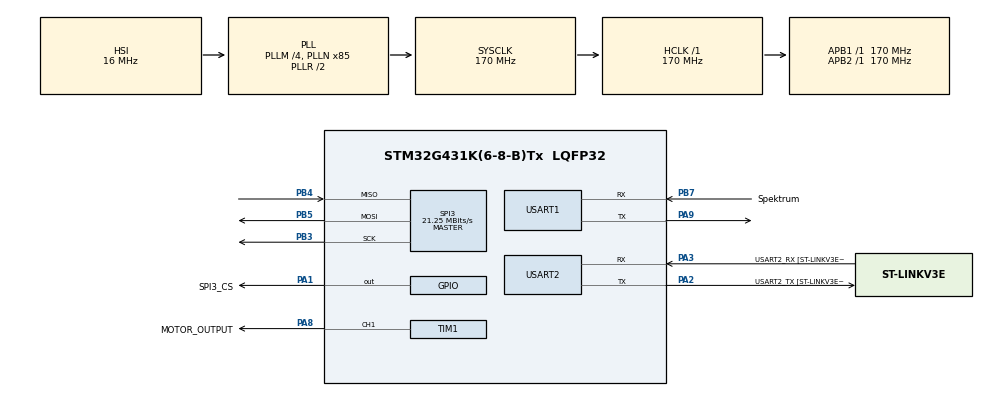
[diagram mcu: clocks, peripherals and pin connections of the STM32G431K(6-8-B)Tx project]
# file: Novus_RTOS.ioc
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Mcu.Family=STM32G4
RCC.CortexFreq_Value=170000000
SPI3.Direction=SPI_DIRECTION_2LINES
SPI3.VirtualType=VM_MASTER
Dma.USART1_RX.0.EventEnable=DISABLE
PA14.GPIO_Label=T_SWCLK
Dma.USART1_RX.0.SignalID=NONE
RCC.SYSCLKSource=RCC_SYSCLKSOURCE_PLLCLK
ProjectManager.StackSize=0x400
VP_FREERTOS_VS_CMSIS_V2.Mode=CMSIS_V2
TIM1.Prescaler=170-1
RCC.HCLKFreq_Value=170000000
RCC.APB2TimFreq_Value=170000000
RCC.AHBFreq_Value=170000000
Dma.USART1_RX.0.Priority=DMA_PRIORITY_LOW
SPI3.DataSize=SPI_DATASIZE_16BIT
RCC.HSE_VALUE=8000000
PB3.Mode=Full_Duplex_Master
USART2.VirtualMode-Asynchronous=VM_ASYNC
RCC.ADC12Freq_Value=170000000
PB4.Mode=Full_Duplex_Master
TIM1.Channel-PWM\ Generation1\ CH1=TIM_CHANNEL_1
PA14.Mode=Serial_Wire
PB5.Mode=Full_Duplex_Master
Dma.USART1_RX.0.SyncEnable=DISABLE
VP_SYS_VS_DBSignals.Mode=DisableDeadBatterySignals
PB7.Signal=USART1_RX
PA8.Signal=S_TIM1_CH1
Dma.USART1_RX.0.MemInc=DMA_MINC_ENABLE
VP_TIM1_VS_ClockSourceINT.Mode=Internal
PB7.GPIO_Label=Spektrum
Mcu.Package=LQFP32
NVIC.TimeBase=TIM7_IRQn
SPI3.Mode=SPI_MODE_MASTER
PA2.GPIO_Label=USART2_TX [ST-LINKV3E_VCP_RX]
NVIC.TimeBaseIP=TIM7
USART2.WordLength=WORDLENGTH_8B
RCC.APB1TimFreq_Value=170000000
Dma.USART1_RX.0.Mode=DMA_CIRCULAR
Dma.Request0=USART1_RX
Dma.USART1_RX.0.Instance=DMA1_Channel1
NVIC.TIM7_IRQn=true\:0\:0\:false\:false\:true\:false\:false\:true
RCC.HSI48_VALUE=48000000
PB4.Signal=SPI3_MISO
PA3.Signal=USART2_RX
FREERTOS.Tasks01=mControllerTask,24,128,StartControllerTask,Default,NULL,Static,mControllerTaskBuffer,mControllerTaskControlBlock;updateEncoderTa,24,128,StartEncoderTask,Default,NULL,Static,updateEncoderTaBuffer,updateEncoderTaControlBlock;paramReceiver,24,128,StartparamReceiver,Default,NULL,Static,paramReceiverBuffer,paramReceiverControlBlock
Dma.USART1_RX.0.PeriphDataAlignment=DMA_PDATAALIGN_BYTE
VP_SYS_VS_tim7.Mode=TIM7
RCC.EXTERNAL_CLOCK_VALUE=12288000
Dma.USART1_RX.0.RequestNumber=1
Dma.USART1_RX.0.Polarity=HAL_DMAMUX_REQ_GEN_RISING
USART1.VirtualMode-Asynchronous=VM_ASYNC
PA13.Signal=SYS_JTMS-SWDIO
PA3.Mode=Asynchronous
PA9.Mode=Asynchronous
PA8.GPIO_Label=MOTOR_OUTPUT
SH.S_TIM1_CH1.0=TIM1_CH1,PWM Generation1 CH1
ProjectManager.TargetToolchain=STM32CubeIDE
Dma.USART1_RX.0.SyncRequestNumber=1
Dma.USART1_RX.0.Direction=DMA_PERIPH_TO_MEMORY
PA9.Signal=USART1_TX
RCC.USBFreq_Value=170000000
RCC.LSE_VALUE=32768
PA1.Signal=GPIO_Output
Dma.USART1_RX.0.PeriphInc=DMA_PINC_DISABLE
board=NUCLEO-G431KB
SPI3.CLKPhase=SPI_PHASE_2EDGE
RCC.VCOOutputFreq_Value=340000000
RCC.APB2Freq_Value=170000000
SPI3.CalculateBaudRate=21.25 MBits/s
SPI3.BaudRatePrescaler=SPI_BAUDRATEPRESCALER_8
PA1.GPIO_Label=SPI3_CS
Dma.USART1_RX.0.MemDataAlignment=DMA_MDATAALIGN_BYTE
Dma.USART1_RX.0.SyncPolarity=HAL_DMAMUX_SYNC_NO_EVENT
PA13.Mode=Serial_Wire
Mcu.Name=STM32G431K(6-8-B)Tx
Dma.USART1_RX.0.SyncSignalID=NONE
PA13.GPIO_Label=T_SWDIO
PA2.Signal=USART2_TX
PB3.Signal=SPI3_SCK
RCC.SYSCLKFreq_VALUE=170000000
PB5.Signal=SPI3_MOSI
PB7.Mode=Asynchronous
PA14.Signal=SYS_JTCK-SWCLK
ProjectManager.HeapSize=0x200
FREERTOS.Timers01=tmtcTimer,tmtcTimerCallback,osTimerPeriodic,Default,NULL,Static,tmtcTimerControlBlock
RCC.HSI_VALUE=16000000
NVIC.PriorityGroup=NVIC_PRIORITYGROUP_4
RCC.PLLM=RCC_PLLM_DIV4
RCC.PLLN=85
PA2.Mode=Asynchronous
NVIC.DMA1_Channel1_IRQn=true\:5\:0\:false\:false\:true\:true\:false\:true
RCC.APB1Freq_Value=170000000
TIM1.PeriodNoDither=2500-1
PA3.GPIO_Label=USART2_RX [ST-LINKV3E_VCP_TX]

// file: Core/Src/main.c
/* USER CODE BEGIN Header */
/**
  ******************************************************************************
  * @file           : main.c
  * @brief          : Main program body
  ******************************************************************************
  * @attention
  *
  * <h2><center>&copy; Copyright (c) 2021 STMicroelectronics.
  * All rights reserved.</center></h2>
  *
  * This software component is licensed by ST under BSD 3-Clause license,
  * the "License"; You may not use this file except in compliance with the
  * License. You may obtain a copy of the License at:
  *                        opensource.org/licenses/BSD-3-Clause
  *
  ******************************************************************************
  */
/* USER CODE END Header */
#include "main.h"
#include "cmsis_os.h"

/* USER CODE BEGIN Includes */
#include <stdio.h>
#include "controller/controller.h"
#include "tmtc/tmtc.h"
/* USER CODE END Includes */

typedef StaticTask_t osStaticThreadDef_t;
typedef StaticTimer_t osStaticTimerDef_t;

SPI_HandleTypeDef hspi3;

TIM_HandleTypeDef htim1;

UART_HandleTypeDef huart1;
UART_HandleTypeDef huart2;
DMA_HandleTypeDef hdma_usart1_rx;

/* Definitions for mControllerTask */
osThreadId_t mControllerTaskHandle;
uint32_t mControllerTaskBuffer[ 128 ];
osStaticThreadDef_t mControllerTaskControlBlock;
const osThreadAttr_t mControllerTask_attributes = {
  .name = "mControllerTask",
  .stack_mem = &mControllerTaskBuffer[0],
  .stack_size = sizeof(mControllerTaskBuffer),
  .cb_mem = &mControllerTaskControlBlock,
  .cb_size = sizeof(mControllerTaskControlBlock),
  .priority = (osPriority_t) osPriorityNormal,
};
/* Definitions for updateEncoderTa */
osThreadId_t updateEncoderTaHandle;
uint32_t updateEncoderTaBuffer[ 128 ];
osStaticThreadDef_t updateEncoderTaControlBlock;
const osThreadAttr_t updateEncoderTa_attributes = {
  .name = "updateEncoderTa",
  .stack_mem = &updateEncoderTaBuffer[0],
  .stack_size = sizeof(updateEncoderTaBuffer),
  .cb_mem = &updateEncoderTaControlBlock,
  .cb_size = sizeof(updateEncoderTaControlBlock),
  .priority = (osPriority_t) osPriorityNormal,
};
/* Definitions for paramReceiver */
osThreadId_t paramReceiverHandle;
uint32_t paramReceiverBuffer[ 128 ];
osStaticThreadDef_t paramReceiverControlBlock;
const osThreadAttr_t paramReceiver_attributes = {
  .name = "paramReceiver",
  .stack_mem = &paramReceiverBuffer[0],
  .stack_size = sizeof(paramReceiverBuffer),
  .cb_mem = &paramReceiverControlBlock,
  .cb_size = sizeof(paramReceiverControlBlock),
  .priority = (osPriority_t) osPriorityNormal,
};
/* Definitions for tmtcTimer */
osTimerId_t tmtcTimerHandle;
osStaticTimerDef_t tmtcTimerControlBlock;
const osTimerAttr_t tmtcTimer_attributes = {
  .name = "tmtcTimer",
  .cb_mem = &tmtcTimerControlBlock,
  .cb_size = sizeof(tmtcTimerControlBlock),
};
/* USER CODE BEGIN PV */

MOTOR motor;
RC rc;

float control_command = 0;
SPT_Value setpoint_value;
MODE mode = CUT_OFF;

uint8_t buffer[100];

/* USER CODE END PV */

void SystemClock_Config(void);
static void MX_GPIO_Init(void);
static void MX_DMA_Init(void);
static void MX_USART2_UART_Init(void);
static void MX_USART1_UART_Init(void);
static void MX_TIM1_Init(void);
static void MX_SPI3_Init(void);
void StartControllerTask(void *argument);
void StartEncoderTask(void *argument);
void StartparamReceiver(void *argument);
void tmtcTimerCallback(void *argument);

int main(void)
{

  /* MCU Configuration--------------------------------------------------------*/

  /* Reset of all peripherals, Initializes the Flash interface and the Systick. */
  HAL_Init();

  /* Configure the system clock */
  SystemClock_Config();

  /* Initialize all configured peripherals */
  MX_GPIO_Init();
  MX_DMA_Init();
  MX_USART2_UART_Init();
  MX_USART1_UART_Init();
  MX_TIM1_Init();
  MX_SPI3_Init();
  /* USER CODE BEGIN 2 */

  as5147_Init(&hspi3, SPI3_CS_GPIO_Port, SPI3_CS_Pin);
  as5147_setZeroPosition();
  setOffset(&motor);

  controllerInit(&htim1);

  transpc_index = 0;
  /* USER CODE END 2 */

  /* Init scheduler */
  osKernelInitialize();

  /* Create the timer(s) */
  /* creation of tmtcTimer */
  tmtcTimerHandle = osTimerNew(tmtcTimerCallback, osTimerPeriodic, NULL, &tmtcTimer_attributes);

  /* USER CODE BEGIN RTOS_TIMERS */
  /* start timers, add new ones, ... */
  osTimerStart(tmtcTimerHandle, 5);
  /* USER CODE END RTOS_TIMERS */

  /* Create the thread(s) */
  /* creation of mControllerTask */
  mControllerTaskHandle = osThreadNew(StartControllerTask, NULL, &mControllerTask_attributes);

  /* creation of updateEncoderTa */
  updateEncoderTaHandle = osThreadNew(StartEncoderTask, NULL, &updateEncoderTa_attributes);

  /* creation of paramReceiver */
  paramReceiverHandle = osThreadNew(StartparamReceiver, NULL, &paramReceiver_attributes);

  /* Start scheduler */
  osKernelStart();

  /* We should never get here as control is now taken by the scheduler */
  /* Infinite loop */
  while (1)
  {

  }
}

void SystemClock_Config(void)
{
  RCC_OscInitTypeDef RCC_OscInitStruct = {0};
  RCC_ClkInitTypeDef RCC_ClkInitStruct = {0};
  RCC_PeriphCLKInitTypeDef PeriphClkInit = {0};

  /** Configure the main internal regulator output voltage
  */
  HAL_PWREx_ControlVoltageScaling(PWR_REGULATOR_VOLTAGE_SCALE1_BOOST);
  /** Initializes the RCC Oscillators according to the specified parameters
  * in the RCC_OscInitTypeDef structure.
  */
  RCC_OscInitStruct.OscillatorType = RCC_OSCILLATORTYPE_HSI;
  RCC_OscInitStruct.HSIState = RCC_HSI_ON;
  RCC_OscInitStruct.HSICalibrationValue = RCC_HSICALIBRATION_DEFAULT;
  RCC_OscInitStruct.PLL.PLLState = RCC_PLL_ON;
  RCC_OscInitStruct.PLL.PLLSource = RCC_PLLSOURCE_HSI;
  RCC_OscInitStruct.PLL.PLLM = RCC_PLLM_DIV4;
  RCC_OscInitStruct.PLL.PLLN = 85;
  RCC_OscInitStruct.PLL.PLLP = RCC_PLLP_DIV2;
  RCC_OscInitStruct.PLL.PLLQ = RCC_PLLQ_DIV2;
  RCC_OscInitStruct.PLL.PLLR = RCC_PLLR_DIV2;
  if (HAL_RCC_OscConfig(&RCC_OscInitStruct) != HAL_OK)
  {
    Error_Handler();
  }
  /** Initializes the CPU, AHB and APB buses clocks
  */
  RCC_ClkInitStruct.ClockType = RCC_CLOCKTYPE_HCLK|RCC_CLOCKTYPE_SYSCLK
                              |RCC_CLOCKTYPE_PCLK1|RCC_CLOCKTYPE_PCLK2;
  RCC_ClkInitStruct.SYSCLKSource = RCC_SYSCLKSOURCE_PLLCLK;
  RCC_ClkInitStruct.AHBCLKDivider = RCC_SYSCLK_DIV1;
  RCC_ClkInitStruct.APB1CLKDivider = RCC_HCLK_DIV1;
  RCC_ClkInitStruct.APB2CLKDivider = RCC_HCLK_DIV1;

  if (HAL_RCC_ClockConfig(&RCC_ClkInitStruct, FLASH_LATENCY_4) != HAL_OK)
  {
    Error_Handler();
  }
  /** Initializes the peripherals clocks
  */
  PeriphClkInit.PeriphClockSelection = RCC_PERIPHCLK_USART1|RCC_PERIPHCLK_USART2;
  PeriphClkInit.Usart1ClockSelection = RCC_USART1CLKSOURCE_PCLK2;
  PeriphClkInit.Usart2ClockSelection = RCC_USART2CLKSOURCE_PCLK1;
  if (HAL_RCCEx_PeriphCLKConfig(&PeriphClkInit) != HAL_OK)
  {
    Error_Handler();
  }
}

static void MX_SPI3_Init(void)
{

  /* SPI3 parameter configuration*/
  hspi3.Instance = SPI3;
  hspi3.Init.Mode = SPI_MODE_MASTER;
  hspi3.Init.Direction = SPI_DIRECTION_2LINES;
  hspi3.Init.DataSize = SPI_DATASIZE_16BIT;
  hspi3.Init.CLKPolarity = SPI_POLARITY_LOW;
  hspi3.Init.CLKPhase = SPI_PHASE_2EDGE;
  hspi3.Init.NSS = SPI_NSS_SOFT;
  hspi3.Init.BaudRatePrescaler = SPI_BAUDRATEPRESCALER_8;
  hspi3.Init.FirstBit = SPI_FIRSTBIT_MSB;
  hspi3.Init.TIMode = SPI_TIMODE_DISABLE;
  hspi3.Init.CRCCalculation = SPI_CRCCALCULATION_DISABLE;
  hspi3.Init.CRCPolynomial = 7;
  hspi3.Init.CRCLength = SPI_CRC_LENGTH_DATASIZE;
  hspi3.Init.NSSPMode = SPI_NSS_PULSE_DISABLE;
  if (HAL_SPI_Init(&hspi3) != HAL_OK)
  {
    Error_Handler();
  }

}

static void MX_TIM1_Init(void)
{

  TIM_ClockConfigTypeDef sClockSourceConfig = {0};
  TIM_MasterConfigTypeDef sMasterConfig = {0};
  TIM_OC_InitTypeDef sConfigOC = {0};
  TIM_BreakDeadTimeConfigTypeDef sBreakDeadTimeConfig = {0};

  htim1.Instance = TIM1;
  htim1.Init.Prescaler = 170-1;
  htim1.Init.CounterMode = TIM_COUNTERMODE_UP;
  htim1.Init.Period = 2499;
  htim1.Init.ClockDivision = TIM_CLOCKDIVISION_DIV1;
  htim1.Init.RepetitionCounter = 0;
  htim1.Init.AutoReloadPreload = TIM_AUTORELOAD_PRELOAD_DISABLE;
  if (HAL_TIM_Base_Init(&htim1) != HAL_OK)
  {
    Error_Handler();
  }
  sClockSourceConfig.ClockSource = TIM_CLOCKSOURCE_INTERNAL;
  if (HAL_TIM_ConfigClockSource(&htim1, &sClockSourceConfig) != HAL_OK)
  {
    Error_Handler();
  }
  if (HAL_TIM_PWM_Init(&htim1) != HAL_OK)
  {
    Error_Handler();
  }
  sMasterConfig.MasterOutputTrigger = TIM_TRGO_RESET;
  sMasterConfig.MasterOutputTrigger2 = TIM_TRGO2_RESET;
  sMasterConfig.MasterSlaveMode = TIM_MASTERSLAVEMODE_DISABLE;
  if (HAL_TIMEx_MasterConfigSynchronization(&htim1, &sMasterConfig) != HAL_OK)
  {
    Error_Handler();
  }
  sConfigOC.OCMode = TIM_OCMODE_PWM1;
  sConfigOC.Pulse = 0;
  sConfigOC.OCPolarity = TIM_OCPOLARITY_HIGH;
  sConfigOC.OCNPolarity = TIM_OCNPOLARITY_HIGH;
  sConfigOC.OCFastMode = TIM_OCFAST_DISABLE;
  sConfigOC.OCIdleState = TIM_OCIDLESTATE_RESET;
  sConfigOC.OCNIdleState = TIM_OCNIDLESTATE_RESET;
  if (HAL_TIM_PWM_ConfigChannel(&htim1, &sConfigOC, TIM_CHANNEL_1) != HAL_OK)
  {
    Error_Handler();
  }
  sBreakDeadTimeConfig.OffStateRunMode = TIM_OSSR_DISABLE;
  sBreakDeadTimeConfig.OffStateIDLEMode = TIM_OSSI_DISABLE;
  sBreakDeadTimeConfig.LockLevel = TIM_LOCKLEVEL_OFF;
  sBreakDeadTimeConfig.DeadTime = 0;
  sBreakDeadTimeConfig.BreakState = TIM_BREAK_DISABLE;
  sBreakDeadTimeConfig.BreakPolarity = TIM_BREAKPOLARITY_HIGH;
  sBreakDeadTimeConfig.BreakFilter = 0;
  sBreakDeadTimeConfig.BreakAFMode = TIM_BREAK_AFMODE_INPUT;
  sBreakDeadTimeConfig.Break2State = TIM_BREAK2_DISABLE;
  sBreakDeadTimeConfig.Break2Polarity = TIM_BREAK2POLARITY_HIGH;
  sBreakDeadTimeConfig.Break2Filter = 0;
  sBreakDeadTimeConfig.Break2AFMode = TIM_BREAK_AFMODE_INPUT;
  sBreakDeadTimeConfig.AutomaticOutput = TIM_AUTOMATICOUTPUT_DISABLE;
  if (HAL_TIMEx_ConfigBreakDeadTime(&htim1, &sBreakDeadTimeConfig) != HAL_OK)
  {
    Error_Handler();
  }
  HAL_TIM_MspPostInit(&htim1);

}

static void MX_USART1_UART_Init(void)
{

  huart1.Instance = USART1;
  huart1.Init.BaudRate = 115200;
  huart1.Init.WordLength = UART_WORDLENGTH_8B;
  huart1.Init.StopBits = UART_STOPBITS_1;
  huart1.Init.Parity = UART_PARITY_NONE;
  huart1.Init.Mode = UART_MODE_TX_RX;
  huart1.Init.HwFlowCtl = UART_HWCONTROL_NONE;
  huart1.Init.OverSampling = UART_OVERSAMPLING_16;
  huart1.Init.OneBitSampling = UART_ONE_BIT_SAMPLE_DISABLE;
  huart1.Init.ClockPrescaler = UART_PRESCALER_DIV1;
  huart1.AdvancedInit.AdvFeatureInit = UART_ADVFEATURE_NO_INIT;
  if (HAL_UART_Init(&huart1) != HAL_OK)
  {
    Error_Handler();
  }
  if (HAL_UARTEx_SetTxFifoThreshold(&huart1, UART_TXFIFO_THRESHOLD_1_8) != HAL_OK)
  {
    Error_Handler();
  }
  if (HAL_UARTEx_SetRxFifoThreshold(&huart1, UART_RXFIFO_THRESHOLD_1_8) != HAL_OK)
  {
    Error_Handler();
  }
  if (HAL_UARTEx_DisableFifoMode(&huart1) != HAL_OK)
  {
    Error_Handler();
  }
  /* USER CODE BEGIN USART1_Init 2 */
  HAL_UART_Receive_DMA(&huart1, rc_byte_data, 16);
  /* USER CODE END USART1_Init 2 */

}

static void MX_USART2_UART_Init(void)
{

  huart2.Instance = USART2;
  huart2.Init.BaudRate = 115200;
  huart2.Init.WordLength = UART_WORDLENGTH_8B;
  huart2.Init.StopBits = UART_STOPBITS_1;
  huart2.Init.Parity = UART_PARITY_NONE;
  huart2.Init.Mode = UART_MODE_TX_RX;
  huart2.Init.HwFlowCtl = UART_HWCONTROL_NONE;
  huart2.Init.OverSampling = UART_OVERSAMPLING_16;
  huart2.Init.OneBitSampling = UART_ONE_BIT_SAMPLE_DISABLE;
  huart2.Init.ClockPrescaler = UART_PRESCALER_DIV1;
  huart2.AdvancedInit.AdvFeatureInit = UART_ADVFEATURE_NO_INIT;
  if (HAL_UART_Init(&huart2) != HAL_OK)
  {
    Error_Handler();
  }
  if (HAL_UARTEx_SetTxFifoThreshold(&huart2, UART_TXFIFO_THRESHOLD_1_8) != HAL_OK)
  {
    Error_Handler();
  }
  if (HAL_UARTEx_SetRxFifoThreshold(&huart2, UART_RXFIFO_THRESHOLD_1_8) != HAL_OK)
  {
    Error_Handler();
  }
  if (HAL_UARTEx_DisableFifoMode(&huart2) != HAL_OK)
  {
    Error_Handler();
  }

}

static void MX_DMA_Init(void)
{

  /* DMA controller clock enable */
  __HAL_RCC_DMAMUX1_CLK_ENABLE();
  __HAL_RCC_DMA1_CLK_ENABLE();

  /* DMA interrupt init */
  /* DMA1_Channel1_IRQn interrupt configuration */
  HAL_NVIC_SetPriority(DMA1_Channel1_IRQn, 5, 0);
  HAL_NVIC_EnableIRQ(DMA1_Channel1_IRQn);

}

static void MX_GPIO_Init(void)
{
  GPIO_InitTypeDef GPIO_InitStruct = {0};

  /* GPIO Ports Clock Enable */
  __HAL_RCC_GPIOA_CLK_ENABLE();
  __HAL_RCC_GPIOB_CLK_ENABLE();

  /*Configure GPIO pin Output Level */
  HAL_GPIO_WritePin(SPI3_CS_GPIO_Port, SPI3_CS_Pin, GPIO_PIN_RESET);

  /*Configure GPIO pin : SPI3_CS_Pin */
  GPIO_InitStruct.Pin = SPI3_CS_Pin;
  GPIO_InitStruct.Mode = GPIO_MODE_OUTPUT_PP;
  GPIO_InitStruct.Pull = GPIO_NOPULL;
  GPIO_InitStruct.Speed = GPIO_SPEED_FREQ_LOW;
  HAL_GPIO_Init(SPI3_CS_GPIO_Port, &GPIO_InitStruct);

}

/* USER CODE BEGIN 4 */

void HAL_UART_RxCpltCallback(UART_HandleTypeDef *huartx){
	if(huartx->Instance == huart1.Instance){
		spectrum_read(&rc);
		HAL_UART_Receive_DMA(&huart1, rc_byte_data, 16);
	}
}

/* USER CODE END 4 */

void StartControllerTask(void *argument)
{
  /* USER CODE BEGIN 5 */
  /* Infinite loop */
  for(;;){
	 start_time = HAL_GetTick();
	 setpoint_value = setpoint(rc, motor);
	 mode = getMode(rc, &motor);

	 control_command = momentController(setpoint_value, motor);

	 outputMotor(control_command, setpoint_value, mode, &motor);

	 osDelay(1);
	 loop_time = HAL_GetTick() - start_time;
  }
  /* USER CODE END 5 */
}

void StartEncoderTask(void *argument)
{
  /* USER CODE BEGIN StartEncoderTask */
  /* Infinite loop */
  for(;;)
  {
	sens_time = HAL_GetTick() - sens_start;
	updatePosition(&motor, rc);
	sens_start = HAL_GetTick();
	updateRPM(&motor);
	osDelay(1);
  }
  /* USER CODE END StartEncoderTask */
}

void StartparamReceiver(void *argument)
{
  /* USER CODE BEGIN StartparamReceiver */
	uint8_t paramData[9];
	float p = 0;
	float d = 0;
  /* Infinite loop */
  for(;;)
  {
	  HAL_UART_Receive(&huart2, paramData, 9, 1000);
	  p = paramData[3] << 24 | paramData[2] << 16 | paramData[1] << 8 | paramData[0];
	  d = paramData[7] << 24 | paramData[6] << 16 | paramData[5] << 8 | paramData[4];
	  switch(paramData[8]){
	  case 10:
		  setSpeedGain(p, d);
		  break;
	  case 20:
		  setMomentGain(p, d);
		  break;
	  case 40:
		  setAmplitudeGain(p);
		  break;
	  default:
		  break;
	  }
    osDelay(1);
  }
  /* USER CODE END StartparamReceiver */
}

/* tmtcTimerCallback function */
void tmtcTimerCallback(void *argument)
{
  /* USER CODE BEGIN tmtcTimerCallback */
	if(transpc_index==0){
		get_packet_moter(motor, setpoint_value);
		transpc_index++;
	}
	else if(transpc_index ==1){
		get_packet_rc(rc);
		transpc_index--;
	}else{
		transpc_index = 0;
	}
#if 0
	 sprintf((char*)buffer, "%f\t%f\r\n", motor.ang, motor.pwm);
	 HAL_UART_Transmit(&huart2, buffer, 100, 100);
#endif
  /* USER CODE END tmtcTimerCallback */
}

 /**
  * @brief  Period elapsed callback in non blocking mode
  * @note   This function is called  when TIM7 interrupt took place, inside
  * HAL_TIM_IRQHandler(). It makes a direct call to HAL_IncTick() to increment
  * a global variable "uwTick" used as application time base.
  * @param  htim : TIM handle
  * @retval None
  */
void HAL_TIM_PeriodElapsedCallback(TIM_HandleTypeDef *htim)
{
  if (htim->Instance == TIM7) {
    HAL_IncTick();
  }
}

void Error_Handler(void)
{
  __disable_irq();
  while (1)
  {
  }
}

/************************ (C) COPYRIGHT STMicroelectronics *****END OF FILE****/
